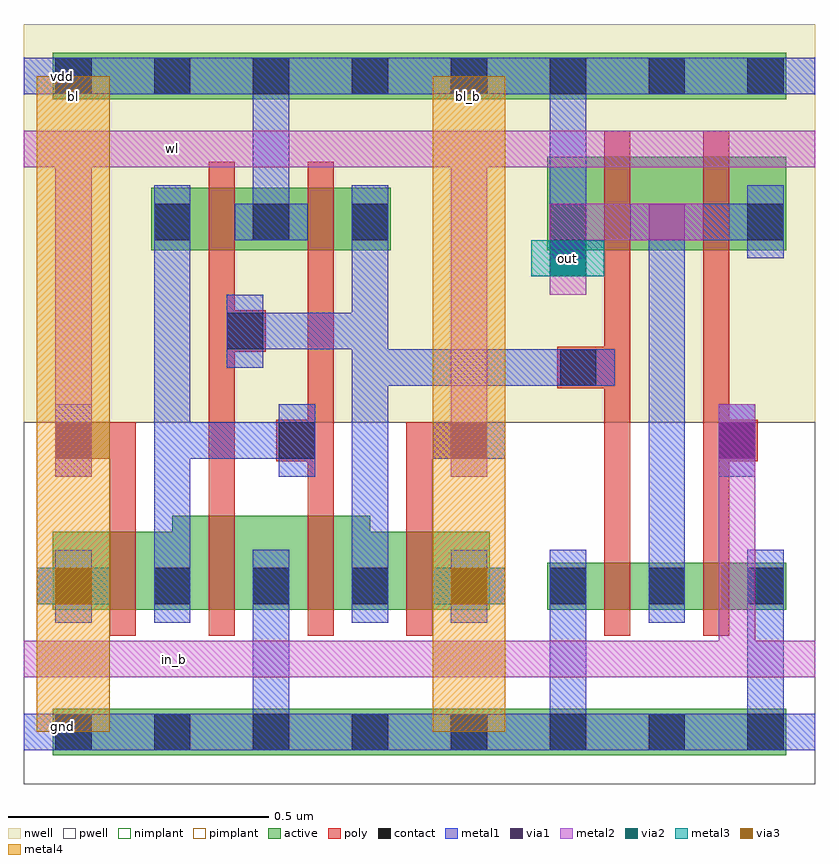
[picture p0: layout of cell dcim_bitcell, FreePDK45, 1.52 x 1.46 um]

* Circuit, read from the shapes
.subckt dcim_bitcell bl bl_b gnd in_b out vdd wl
M1 n1 wl bl gnd nfet w=0.15u l=0.05u
M2 gnd n2 n1 gnd nfet w=0.18u l=0.05u
M3 n2 n1 gnd gnd nfet w=0.18u l=0.05u
M4 bl_b wl n2 gnd nfet w=0.15u l=0.05u
M5 out n2 gnd gnd nfet w=0.09u l=0.05u
M6 gnd in_b out gnd nfet w=0.09u l=0.05u
M7 vdd n2 n1 vdd pfet w=0.12u l=0.05u
M8 n2 n1 vdd vdd pfet w=0.12u l=0.05u
M9 n3 n2 vdd vdd pfet w=0.18u l=0.05u
M10 out in_b n3 vdd pfet w=0.18u l=0.05u
.ends

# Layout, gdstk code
import gdstk
lib = gdstk.Library(unit=1e-6, precision=5e-10)
def R(c, l, rs):  # rectangles x0, y0, x1, y1
    for r in rs: c.add(gdstk.rectangle(r[:2], r[2:], *l))
def A(c, l, x, y, w, h, nx, ny, dx, dy):  # array of equal rectangles
    R(c, l, [(x+i*dx, y+j*dy, x+i*dx+w, y+j*dy+h) for i in range(nx) for j in range(ny)])
active = (1, 0)
pwell = (2, 0)
nwell = (3, 0)
nimplant = (4, 0)
pimplant = (5, 0)
poly = (9, 0)
contact = (10, 0)
metal1 = (11, 0)
via1 = (12, 0)
metal2 = (13, 0)
via2 = (14, 0)
metal3 = (15, 0)
via3 = (16, 0)
metal4 = (17, 0)

dcim_bitcell = lib.new_cell('dcim_bitcell')
R(dcim_bitcell, active, [(0.055,-0.045,1.465,0.045), (0.055,0.235,0.285,0.385), (0.285,0.235,0.665,0.415), (0.665,0.235,0.895,0.385), (1.005,0.235,1.465,0.325), (0.245,0.925,0.705,1.045), (1.005,0.925,1.465,1.105), (0.055,1.215,1.465,1.305)])
R(dcim_bitcell, pwell, [(0,-0.1,1.52,0.595)])
R(dcim_bitcell, nwell, [(0,0.595,1.52,1.36)])
R(dcim_bitcell, nimplant, [(0.055,0.235,0.285,0.385), (0.285,0.235,0.665,0.415), (0.665,0.235,0.895,0.385), (1.005,0.235,1.465,0.325), (0.055,1.215,1.465,1.305)])
R(dcim_bitcell, pimplant, [(0.055,-0.045,1.465,0.045), (0.245,0.925,0.705,1.045), (1.005,0.925,1.465,1.105)])
R(dcim_bitcell, poly, [(0.165,0.185,0.215,0.595), (0.355,0.185,0.405,1.095), (0.545,0.185,0.595,1.095), (0.735,0.185,0.785,0.595), (1.115,0.185,1.165,1.155), (1.305,0.185,1.355,1.155), (0.485,0.52,0.545,0.6), (1.355,0.52,1.41,0.6), (0.06,0.525,0.165,0.595), (0.785,0.525,0.89,0.595), (1.025,0.66,1.115,0.74), (0.405,0.73,0.465,0.81)])
A(dcim_bitcell, contact, 0.06, -0.035, 0.07, 0.07, 8, 2, 0.19, 0.28)
A(dcim_bitcell, contact, 0.25, 0.945, 0.07, 0.07, 3, 1, 0.19, 0)
A(dcim_bitcell, contact, 0.06, 1.225, 0.07, 0.07, 8, 1, 0.19, 0)
R(dcim_bitcell, contact, [(0.06,0.525,0.13,0.595), (0.49,0.525,0.56,0.595), (0.82,0.525,0.89,0.595), (1.335,0.525,1.405,0.595), (1.03,0.665,1.1,0.735), (0.39,0.735,0.46,0.805), (1.01,0.945,1.08,1.015), (1.39,0.945,1.46,1.015)])
R(dcim_bitcell, metal1, [(0,-0.035,1.52,0.035), (0.44,0.035,0.51,0.35), (1.01,0.035,1.08,0.35), (1.39,0.035,1.46,0.35), (0.06,0.21,0.13,0.35), (0.25,0.21,0.32,1.05), (0.63,0.21,0.7,1.05), (0.82,0.21,0.89,0.35), (1.2,0.21,1.27,0.945), (0.06,0.49,0.13,0.63), (0.49,0.49,0.56,0.63), (1.335,0.49,1.405,0.63), (0.32,0.525,0.49,0.595), (0.785,0.525,0.925,0.595), (0.7,0.665,1.135,0.735), (0.39,0.7,0.46,0.84), (0.46,0.735,0.63,0.805), (1.01,0.91,1.08,1.225), (1.39,0.91,1.46,1.05), (0.405,0.945,0.545,1.015), (1.165,0.945,1.39,1.015), (0.44,1.015,0.51,1.225), (0,1.225,1.52,1.295)])
R(dcim_bitcell, via1, [(0.06,0.245,0.13,0.315), (0.82,0.245,0.89,0.315), (0.06,0.525,0.13,0.595), (0.82,0.525,0.89,0.595), (1.335,0.525,1.405,0.595), (1.2,0.945,1.27,1.015)])
R(dcim_bitcell, metal2, [(0,0.105,1.52,0.175), (1.335,0.175,1.405,0.63), (0.025,0.245,0.165,0.315), (0.785,0.245,0.925,0.315), (0.06,0.49,0.13,1.085), (0.82,0.49,0.89,1.085), (1.01,0.84,1.08,1.015), (1.08,0.945,1.305,1.015), (0,1.085,1.52,1.155)])
R(dcim_bitcell, via2, [(0.06,0.245,0.13,0.315), (0.82,0.245,0.89,0.315), (1.01,0.875,1.08,0.945)])
R(dcim_bitcell, metal3, [(0.025,0.245,0.165,0.315), (0.785,0.245,0.925,0.315), (0.975,0.875,1.115,0.945)])
R(dcim_bitcell, via3, [(0.06,0.245,0.13,0.315), (0.82,0.245,0.89,0.315)])
R(dcim_bitcell, metal4, [(0.025,0,0.165,1.26), (0.785,0,0.925,1.26)])
dcim_bitcell.add(gdstk.Label('gnd', (0.075,0.01), layer=11, texttype=0))
dcim_bitcell.add(gdstk.Label('vdd', (0.075,1.26), layer=11, texttype=0))
dcim_bitcell.add(gdstk.Label('wl', (0.285,1.12), layer=13, texttype=0))
dcim_bitcell.add(gdstk.Label('in_b', (0.29,0.14), layer=13, texttype=0))
dcim_bitcell.add(gdstk.Label('out', (1.045,0.91), layer=15, texttype=0))
dcim_bitcell.add(gdstk.Label('bl_b', (0.855,1.22), layer=17, texttype=0))
dcim_bitcell.add(gdstk.Label('bl', (0.095,1.22), layer=17, texttype=0))

lib.write_gds('dcim_bitcell.gds')
